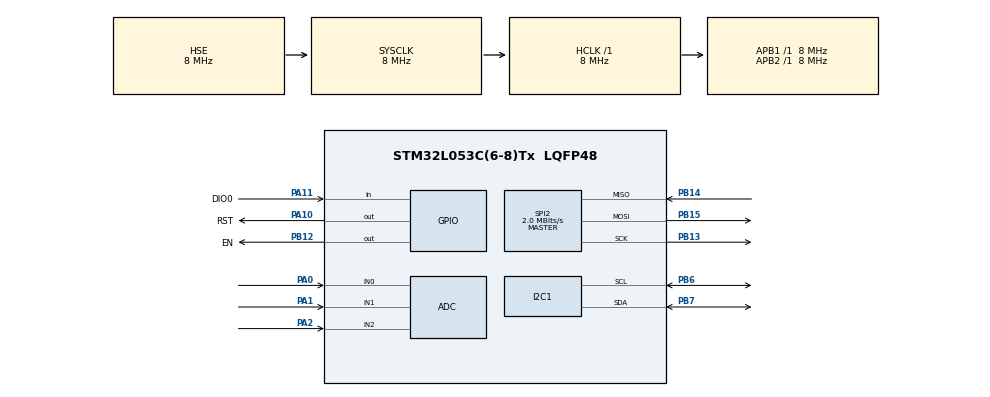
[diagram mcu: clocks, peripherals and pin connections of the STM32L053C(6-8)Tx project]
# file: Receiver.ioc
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Mcu.Family=STM32L0
RCC.MSI_VALUE=2097000
PH0-OSC_IN.Signal=RCC_OSC_IN
SPI2.VirtualType=VM_MASTER
PA11.GPIO_Label=DIO0
PB13.Signal=SPI2_SCK
PB15.Signal=SPI2_MOSI
RCC.SYSCLKSource=RCC_SYSCLKSOURCE_HSE
ProjectManager.StackSize=0x400
PA13.Signal=SYS_SWDIO
RCC.HSI16_VALUE=16000000
ProjectManager.TargetToolchain=STM32CubeIDE
RCC.HCLKFreq_Value=8000000
RCC.APB2TimFreq_Value=8000000
PB6.Signal=I2C1_SCL
I2C1.Timing=0x2000090E
PB6.Mode=I2C
RCC.LSE_VALUE=32768
PA1.Signal=ADC_IN1
RCC.AHBFreq_Value=8000000
SPI2.BaudRatePrescaler=SPI_BAUDRATEPRESCALER_4
PH0-OSC_IN.Mode=HSE-External-Oscillator
ADC.SamplingTime=ADC_SAMPLETIME_39CYCLES_5
PB14.Signal=SPI2_MISO
RCC.HSE_VALUE=8000000
board=custom
RCC.VCOOutputFreq_Value=48000000
PB15.Mode=Full_Duplex_Master
PB12.GPIO_Label=EN
RCC.APB2Freq_Value=8000000
PA1.Mode=IN1
PA14.Mode=Serial_Wire
PB14.Mode=Full_Duplex_Master
PA0.Mode=IN0
PA10.GPIO_Label=RST
SPI2.CalculateBaudRate=2.0 MBits/s
PH1-OSC_OUT.Signal=RCC_OSC_OUT
PB7.Signal=I2C1_SDA
PA13.Mode=Serial_Wire
Mcu.Name=STM32L053C(6-8)Tx
PA2.Signal=ADC_IN2
PA0.Signal=ADC_IN0
PH1-OSC_OUT.Mode=HSE-External-Oscillator
RCC.SYSCLKFreq_VALUE=8000000
Mcu.Package=LQFP48
SPI2.Mode=SPI_MODE_MASTER
PB7.Mode=I2C
PA11.Signal=GPIO_Input
PA10.Signal=GPIO_Output
PA14.Signal=SYS_SWCLK
ProjectManager.HeapSize=0x200
RCC.HSI_VALUE=16000000
RCC.APB1TimFreq_Value=8000000
PA2.Mode=IN2
SPI2.Direction=SPI_DIRECTION_2LINES
PB13.Mode=Full_Duplex_Master
RCC.APB1Freq_Value=8000000
PB12.Signal=GPIO_Output
RCC.HSI48_VALUE=48000000

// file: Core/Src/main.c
/* USER CODE BEGIN Header */
/**
  ******************************************************************************
  * @file           : main.c
  * @brief          : Main program body
  ******************************************************************************
  * @attention
  *
  * <h2><center>&copy; Copyright (c) 2021 STMicroelectronics.
  * All rights reserved.</center></h2>
  *
  * This software component is licensed by ST under BSD 3-Clause license,
  * the "License"; You may not use this file except in compliance with the
  * License. You may obtain a copy of the License at:
  *                        opensource.org/licenses/BSD-3-Clause
  *
  ******************************************************************************
  */
/* USER CODE END Header */
#include "main.h"
#include "LEDBackpack.h"
#include "SX1278.h"
#include <stdlib.h>
#include <stdio.h>
#include <string.h>

void SystemClock_Config(void);
static void MX_GPIO_Init(void);
static void MX_ADC_Init(void);
static void MX_I2C1_Init(void);
static void MX_SPI2_Init(void);
/* USER CODE BEGIN PFP */
uint16_t set0, set1, set2, mem0, mem1, mem2;
uint8_t channel, offset, chnl, distance, dis;
/* USER CODE END PFP */

/* USER CODE BEGIN 0 */
SX1278_hw_t SX1278_hw;
SX1278_t SX1278;

int master;
int ret;

char buffer[512];

int message_length;

uint8_t responseData[40];
uint8_t responseDataSize = 0;
/* USER CODE END 0 */

int main(void)
{

  /* MCU Configuration--------------------------------------------------------*/

  /* Reset of all peripherals, Initializes the Flash interface and the Systick. */
  HAL_Init();

  /* Configure the system clock */
  SystemClock_Config();

  /* Initialize all configured peripherals */
  MX_GPIO_Init();
  MX_ADC_Init();
  MX_I2C1_Init();
  MX_SPI2_Init();
  /* USER CODE BEGIN 2 */

		//initialize LoRa module
  SX1278_hw.dio0.port = DIO0_GPIO_Port;
  SX1278_hw.dio0.pin = DIO0_Pin;
  SX1278_hw.nss.port = EN_GPIO_Port;
  SX1278_hw.nss.pin = EN_Pin;
  SX1278_hw.reset.port = RST_GPIO_Port;
  SX1278_hw.reset.pin = RST_Pin;
  SX1278_hw.spi = &hspi2;
  SX1278.hw = &SX1278_hw;

  SX1278_init(&SX1278, 434000000, SX1278_POWER_17DBM, SX1278_LORA_SF_7, SX1278_LORA_BW_125KHZ, SX1278_LORA_CR_4_5, SX1278_LORA_CRC_EN, 10);
  ret = SX1278_LoRaEntryRx(&SX1278, 16, 2000);

  HKbegin();  // pass in the address
  writeDigitRaw(3, 0x0);
  writeDigitRaw(0, 0xFFFF);
  writeDisplay();
  HAL_Delay(200);
  writeDigitRaw(0, 0x0);
  writeDigitRaw(1, 0xFFFF);
  writeDisplay();
  HAL_Delay(200);
  writeDigitRaw(1, 0x0);
  writeDigitRaw(2, 0xFFFF);
  writeDisplay();
  HAL_Delay(200);
  writeDigitRaw(2, 0x0);
  writeDigitRaw(3, 0xFFFF);
  writeDisplay();
  HAL_Delay(200);

  clear();
  writeDisplay();

 char displaybuffer[4] = {' ', ' ', ' ', ' '};

  /* USER CODE END 2 */

  /* Infinite loop */
  while (1)
  {

    /* USER CODE BEGIN 3 */
	  HAL_ADC_Start(&hadc);
	  HAL_ADC_PollForConversion(&hadc, 1000);
	  HAL_Delay(20);
	  set0 =  HAL_ADC_GetValue(&hadc);
	  HAL_ADC_PollForConversion(&hadc, 1000);
	  HAL_Delay(20);
	  set1 =  HAL_ADC_GetValue(&hadc);
	  HAL_ADC_PollForConversion(&hadc, 1000);
	  HAL_Delay(20);
	  set2 =  HAL_ADC_GetValue(&hadc);
	  HAL_ADC_Stop(&hadc);

	  if(abs(set0-mem0)>40){
		  mem0 = set0;
		  setBrightness(set0 * 15/4096);
	  }

	  if(abs(set1-mem1)>40){
		  mem1 = set1;
		  channel = (set1-40)/410;
		  sprintf(displaybuffer, "%d", channel);
		  uint8_t stringleng = strlen(displaybuffer);
		  for (uint8_t i=0;i<4;i++){
			  if(i < stringleng){
				  writeDigitAscii(4-stringleng+i, displaybuffer[i]);
			  }
			  else {
				  writeDigitAscii(4-stringleng-i, 32);
			  }
		  }
		  writeDigitAscii(0,'C');
		  writeDisplay();
		  HAL_Delay(2000);
		  sprintf(displaybuffer, "%d", dis);
		  stringleng = strlen(displaybuffer);
		  for (uint8_t i=0;i<4;i++){
			  if(i < stringleng){
				  writeDigitAscii(4-stringleng+i, displaybuffer[i]);
			  }
			  else {
				  writeDigitAscii(4-stringleng-i, 32);
			  }
		  }
		  writeDisplay();
		  HAL_Delay(200);
	  }

	  if(abs(set2-mem2)>40){
		  mem2 = set2;
		  offset = (set2-40)/100;
		  sprintf(displaybuffer, "%d", offset);
		  uint8_t stringleng = strlen(displaybuffer);
		  for (uint8_t i=0;i<4;i++){
			  if(i < stringleng){
				  writeDigitAscii(4-stringleng+i, displaybuffer[i]);
			  }
			  else {
				  writeDigitAscii(4-stringleng-i, 32);
			  }
		  }
		  writeDigitAscii(0,'+');
		  writeDisplay();
		  HAL_Delay(2000);
		  sprintf(displaybuffer, "%d", dis);
		  stringleng = strlen(displaybuffer);
		  for (uint8_t i=0;i<4;i++){
			  if(i < stringleng){
				  writeDigitAscii(4-stringleng+i, displaybuffer[i]);
			  }
			  else {
				  writeDigitAscii(4-stringleng-i, 32);
			  }
		  }
		  writeDisplay();
		  HAL_Delay(200);
	  }

	  ret = SX1278_LoRaRxPacket(&SX1278);
	  if (ret > 0) {
		  SX1278_read(&SX1278, (uint8_t*) buffer, ret);
		  chnl = getChannel(buffer);
		  distance = getDistance(buffer);
		  if((chnl == channel) && (abs(distance-dis+offset)>=1)){
			  dis =  distance+offset;
			  sprintf(displaybuffer, "%d", dis);
			  uint8_t stringleng = strlen(displaybuffer);
			  for (uint8_t i=0;i<4;i++){
				  if(i < stringleng){
					  writeDigitAscii(4-stringleng+i, displaybuffer[i]);
				  }
				  else {
					  writeDigitAscii(4-stringleng-i, 32);
				  }
			  }
			  writeDisplay();
			  HAL_Delay(200);
		  }
	  }
  }
  /* USER CODE END 3 */
}

void SystemClock_Config(void)
{
  RCC_OscInitTypeDef RCC_OscInitStruct = {0};
  RCC_ClkInitTypeDef RCC_ClkInitStruct = {0};
  RCC_PeriphCLKInitTypeDef PeriphClkInit = {0};

  /** Configure the main internal regulator output voltage
  */
  __HAL_PWR_VOLTAGESCALING_CONFIG(PWR_REGULATOR_VOLTAGE_SCALE1);
  /** Initializes the RCC Oscillators according to the specified parameters
  * in the RCC_OscInitTypeDef structure.
  */
  RCC_OscInitStruct.OscillatorType = RCC_OSCILLATORTYPE_HSE;
  RCC_OscInitStruct.HSEState = RCC_HSE_ON;
  RCC_OscInitStruct.PLL.PLLState = RCC_PLL_NONE;
  if (HAL_RCC_OscConfig(&RCC_OscInitStruct) != HAL_OK)
  {
    Error_Handler();
  }
  /** Initializes the CPU, AHB and APB buses clocks
  */
  RCC_ClkInitStruct.ClockType = RCC_CLOCKTYPE_HCLK|RCC_CLOCKTYPE_SYSCLK
                              |RCC_CLOCKTYPE_PCLK1|RCC_CLOCKTYPE_PCLK2;
  RCC_ClkInitStruct.SYSCLKSource = RCC_SYSCLKSOURCE_HSE;
  RCC_ClkInitStruct.AHBCLKDivider = RCC_SYSCLK_DIV1;
  RCC_ClkInitStruct.APB1CLKDivider = RCC_HCLK_DIV1;
  RCC_ClkInitStruct.APB2CLKDivider = RCC_HCLK_DIV1;

  if (HAL_RCC_ClockConfig(&RCC_ClkInitStruct, FLASH_LATENCY_0) != HAL_OK)
  {
    Error_Handler();
  }
  PeriphClkInit.PeriphClockSelection = RCC_PERIPHCLK_I2C1;
  PeriphClkInit.I2c1ClockSelection = RCC_I2C1CLKSOURCE_PCLK1;
  if (HAL_RCCEx_PeriphCLKConfig(&PeriphClkInit) != HAL_OK)
  {
    Error_Handler();
  }
}

static void MX_ADC_Init(void)
{

  ADC_ChannelConfTypeDef sConfig = {0};

  /** Configure the global features of the ADC (Clock, Resolution, Data Alignment and number of conversion)
  */
  hadc.Instance = ADC1;
  hadc.Init.OversamplingMode = DISABLE;
  hadc.Init.ClockPrescaler = ADC_CLOCK_SYNC_PCLK_DIV1;
  hadc.Init.Resolution = ADC_RESOLUTION_12B;
  hadc.Init.SamplingTime = ADC_SAMPLETIME_39CYCLES_5;
  hadc.Init.ScanConvMode = ADC_SCAN_DIRECTION_FORWARD;
  hadc.Init.DataAlign = ADC_DATAALIGN_RIGHT;
  hadc.Init.ContinuousConvMode = DISABLE;
  hadc.Init.DiscontinuousConvMode = DISABLE;
  hadc.Init.ExternalTrigConvEdge = ADC_EXTERNALTRIGCONVEDGE_NONE;
  hadc.Init.ExternalTrigConv = ADC_SOFTWARE_START;
  hadc.Init.DMAContinuousRequests = DISABLE;
  hadc.Init.EOCSelection = ADC_EOC_SINGLE_CONV;
  hadc.Init.Overrun = ADC_OVR_DATA_PRESERVED;
  hadc.Init.LowPowerAutoWait = DISABLE;
  hadc.Init.LowPowerFrequencyMode = DISABLE;
  hadc.Init.LowPowerAutoPowerOff = DISABLE;
  if (HAL_ADC_Init(&hadc) != HAL_OK)
  {
    Error_Handler();
  }
  /** Configure for the selected ADC regular channel to be converted.
  */
  sConfig.Channel = ADC_CHANNEL_0;
  sConfig.Rank = ADC_RANK_CHANNEL_NUMBER;
  if (HAL_ADC_ConfigChannel(&hadc, &sConfig) != HAL_OK)
  {
    Error_Handler();
  }
  /** Configure for the selected ADC regular channel to be converted.
  */
  sConfig.Channel = ADC_CHANNEL_1;
  if (HAL_ADC_ConfigChannel(&hadc, &sConfig) != HAL_OK)
  {
    Error_Handler();
  }
  /** Configure for the selected ADC regular channel to be converted.
  */
  sConfig.Channel = ADC_CHANNEL_2;
  if (HAL_ADC_ConfigChannel(&hadc, &sConfig) != HAL_OK)
  {
    Error_Handler();
  }

}

static void MX_I2C1_Init(void)
{

  hi2c1.Instance = I2C1;
  hi2c1.Init.Timing = 0x2000090E;
  hi2c1.Init.OwnAddress1 = 0;
  hi2c1.Init.AddressingMode = I2C_ADDRESSINGMODE_7BIT;
  hi2c1.Init.DualAddressMode = I2C_DUALADDRESS_DISABLE;
  hi2c1.Init.OwnAddress2 = 0;
  hi2c1.Init.OwnAddress2Masks = I2C_OA2_NOMASK;
  hi2c1.Init.GeneralCallMode = I2C_GENERALCALL_DISABLE;
  hi2c1.Init.NoStretchMode = I2C_NOSTRETCH_DISABLE;
  if (HAL_I2C_Init(&hi2c1) != HAL_OK)
  {
    Error_Handler();
  }
  /** Configure Analogue filter
  */
  if (HAL_I2CEx_ConfigAnalogFilter(&hi2c1, I2C_ANALOGFILTER_ENABLE) != HAL_OK)
  {
    Error_Handler();
  }
  /** Configure Digital filter
  */
  if (HAL_I2CEx_ConfigDigitalFilter(&hi2c1, 0) != HAL_OK)
  {
    Error_Handler();
  }

}

static void MX_SPI2_Init(void)
{

  /* SPI2 parameter configuration*/
  hspi2.Instance = SPI2;
  hspi2.Init.Mode = SPI_MODE_MASTER;
  hspi2.Init.Direction = SPI_DIRECTION_2LINES;
  hspi2.Init.DataSize = SPI_DATASIZE_8BIT;
  hspi2.Init.CLKPolarity = SPI_POLARITY_LOW;
  hspi2.Init.CLKPhase = SPI_PHASE_1EDGE;
  hspi2.Init.NSS = SPI_NSS_SOFT;
  hspi2.Init.BaudRatePrescaler = SPI_BAUDRATEPRESCALER_4;
  hspi2.Init.FirstBit = SPI_FIRSTBIT_MSB;
  hspi2.Init.TIMode = SPI_TIMODE_DISABLE;
  hspi2.Init.CRCCalculation = SPI_CRCCALCULATION_DISABLE;
  hspi2.Init.CRCPolynomial = 7;
  if (HAL_SPI_Init(&hspi2) != HAL_OK)
  {
    Error_Handler();
  }

}

static void MX_GPIO_Init(void)
{
  GPIO_InitTypeDef GPIO_InitStruct = {0};

  /* GPIO Ports Clock Enable */
  __HAL_RCC_GPIOH_CLK_ENABLE();
  __HAL_RCC_GPIOA_CLK_ENABLE();
  __HAL_RCC_GPIOB_CLK_ENABLE();

  /*Configure GPIO pin Output Level */
  HAL_GPIO_WritePin(EN_GPIO_Port, EN_Pin, GPIO_PIN_RESET);

  /*Configure GPIO pin Output Level */
  HAL_GPIO_WritePin(RST_GPIO_Port, RST_Pin, GPIO_PIN_RESET);

  /*Configure GPIO pin : EN_Pin */
  GPIO_InitStruct.Pin = EN_Pin;
  GPIO_InitStruct.Mode = GPIO_MODE_OUTPUT_PP;
  GPIO_InitStruct.Pull = GPIO_NOPULL;
  GPIO_InitStruct.Speed = GPIO_SPEED_FREQ_LOW;
  HAL_GPIO_Init(EN_GPIO_Port, &GPIO_InitStruct);

  /*Configure GPIO pin : RST_Pin */
  GPIO_InitStruct.Pin = RST_Pin;
  GPIO_InitStruct.Mode = GPIO_MODE_OUTPUT_PP;
  GPIO_InitStruct.Pull = GPIO_NOPULL;
  GPIO_InitStruct.Speed = GPIO_SPEED_FREQ_LOW;
  HAL_GPIO_Init(RST_GPIO_Port, &GPIO_InitStruct);

  /*Configure GPIO pin : DIO0_Pin */
  GPIO_InitStruct.Pin = DIO0_Pin;
  GPIO_InitStruct.Mode = GPIO_MODE_INPUT;
  GPIO_InitStruct.Pull = GPIO_NOPULL;
  HAL_GPIO_Init(DIO0_GPIO_Port, &GPIO_InitStruct);

}

/* USER CODE BEGIN 4 */
uint8_t getChannel(char* reply)
{
	uint8_t index = 0;
	while(true)
	{
		if(reply[index] == ':')
			return atoi(&reply[index-1]);
		++index;
	}
}

uint16_t getDistance(char* reply)
{
	uint8_t index = 0;
	while(true)
	{
		if(reply[index] == ':')
			return atoi(reply+index+1);
		++index;
	}
}

/* USER CODE END 4 */

void Error_Handler(void)
{
  __disable_irq();
  while (1)
  {
  }
}

/************************ (C) COPYRIGHT STMicroelectronics *****END OF FILE****/
